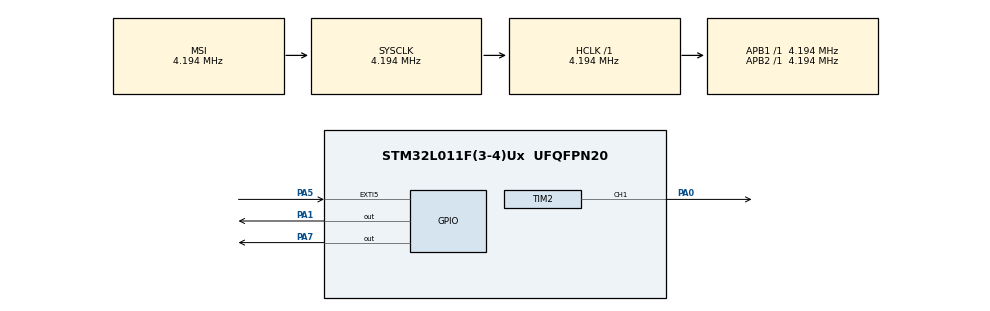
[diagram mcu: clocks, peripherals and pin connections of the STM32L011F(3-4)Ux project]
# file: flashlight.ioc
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LPTIM1.ClockPrescaler=LPTIM_PRESCALER_DIV128
LPTIM1.UpdateMode=LPTIM_UPDATE_ENDOFPERIOD
Mcu.Family=STM32L0
Mcu.Name=STM32L011F(3-4)Ux
Mcu.Package=UFQFPN20
NVIC.EXTI4_15_IRQn=true\:1\:0\:true\:false\:true\:true\:true\:true
NVIC.LPTIM1_IRQn=true\:0\:0\:false\:false\:true\:true\:true\:true
NVIC.PVD_IRQn=true\:0\:0\:false\:false\:true\:true\:true\:true
PA0-CK_IN.GPIO_PuPd=GPIO_PULLDOWN
PA0-CK_IN.Signal=S_TIM2_CH1
PA1.Signal=GPIO_Output
PA13.Mode=Serial_Wire
PA13.Signal=SYS_SWDIO
PA14.Mode=Serial_Wire
PA14.Signal=SYS_SWCLK
PA5.GPIO_PuPd=GPIO_PULLDOWN
PA5.Signal=GPXTI5
PA7.Signal=GPIO_Output
ProjectManager.HeapSize=0x200
ProjectManager.StackSize=0x400
ProjectManager.TargetToolchain=STM32CubeIDE
RCC.AHBFreq_Value=4194000
RCC.APB1Freq_Value=4194000
RCC.APB1TimFreq_Value=4194000
RCC.APB2Freq_Value=4194000
RCC.APB2TimFreq_Value=4194000
RCC.HCLKFreq_Value=4194000
RCC.HSE_VALUE=8000000
RCC.HSI16_VALUE=16000000
RCC.HSI_VALUE=16000000
RCC.LSE_VALUE=32768
RCC.LptimClockSelection=RCC_LPTIM1CLKSOURCE_LSI
RCC.MSIClockRange=RCC_MSIRANGE_6
RCC.MSI_VALUE=4194000
RCC.SYSCLKFreq_VALUE=4194000
RCC.VCOOutputFreq_Value=48000000
SH.S_TIM2_CH1.0=TIM2_CH1,PWM Generation1 CH1
TIM2.Channel-PWM\ Generation1\ CH1=TIM_CHANNEL_1
TIM2.Period=1024
TIM2.Prescaler=3
VP_LPTIM1_VS_LPTIM_counterModeInternalClock.Mode=Counts__internal_clock_event_00
VP_TIM2_VS_ClockSourceINT.Mode=Internal
board=custom

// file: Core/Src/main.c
/* USER CODE BEGIN Header */
/**
  ******************************************************************************
  * @file           : main.c
  * @brief          : Main program body
  ******************************************************************************
  * @attention
  *
  * Copyright (c) 2023 STMicroelectronics.
  * All rights reserved.
  *
  * This software is licensed under terms that can be found in the LICENSE file
  * in the root directory of this software component.
  * If no LICENSE file comes with this software, it is provided AS-IS.
  *
  ******************************************************************************
  */
/* USER CODE END Header */
#include "main.h"

/* USER CODE BEGIN PTD */
typedef enum
{
	idle,
	start,
	run,
	stop,
	chn_brtnss,
	low_battery
}state_machine_t;
/* USER CODE END PTD */

/* USER CODE BEGIN PD */
#define SPEED 10
#define PAUSE 10000
#define MAX_BRNESS 150
#define DOUBLE_CLICK_TIME_OUT 200
#define SLEEP_MS 5000U
/* USER CODE END PD */

LPTIM_HandleTypeDef hlptim1;

TIM_HandleTypeDef htim2;

/* USER CODE BEGIN PV */

uint16_t g_level = 0;
uint8_t g_bt_flag = 0;

uint16_t g_brightness = 200;

uint8_t g_direction = 0;
uint16_t g_speed = 0;
uint16_t g_long_press = 0;
uint16_t g_double_click_time_out = 0;

uint16_t sleep_time_out = SLEEP_MS;

extern uint8_t tic;

state_machine_t st = idle;

uint16_t CRT10_square(uint16_t val) {
    return ((long)val * val + 1023) >> 10;
}

uint16_t CRT10_cubic(uint16_t val) {
    return ((long)val * val * val + 2094081) >> 20;
}

void set_brightness(uint16_t val)
{
	if(val > 1023)
	{
		val = 1023;
	}
	  TIM2->CCR1 = CRT10_square(val);
}
void button_on(void)
{
	HAL_GPIO_WritePin(GPIOA, GPIO_PIN_7, GPIO_PIN_SET);
}

void button_off(void)
{
	HAL_GPIO_WritePin(GPIOA, GPIO_PIN_7, GPIO_PIN_RESET);
}

void time_out(void (*p_sleep_foo)(void))
{
	if(sleep_time_out > 1)
	{
		sleep_time_out--;
	}
	else
	{
		//HAL_TIM_PWM_Stop(&htim2, TIM_CHANNEL_1);
		p_sleep_foo();
	}
}
void start_lp_timer_10s(void)
{
	HAL_LPTIM_TimeOut_Start_IT(&hlptim1,2890,0);
}

void sleep_mode(void)
{
	HAL_PWR_EnterSLEEPMode(PWR_LOWPOWERREGULATOR_ON, PWR_SLEEPENTRY_WFI);
}

void stop_mode(void)
{
	HAL_PWR_EnterSTOPMode(PWR_LOWPOWERREGULATOR_ON, PWR_STOPENTRY_WFI);
}
void reset_led_satus(void)
{
	g_level = 0;
	g_direction = 0;
}

void check_button(void)
{
	if(g_bt_flag == 1 && HAL_GPIO_ReadPin(GPIOA, GPIO_PIN_5) == 0)
	{
		if(g_long_press > 2002)
		{
			g_bt_flag = 0;
			g_long_press = 0;
			g_level = g_brightness;
			set_brightness(g_level);
			st = run;
		}
		else
		{
			g_bt_flag = 0;
			if(g_double_click_time_out > 0)
			{
				g_brightness = 1023;
			}
			else
			{
				g_double_click_time_out = DOUBLE_CLICK_TIME_OUT;
			}

			if(st == idle)
			{
				st = start;
			}
			else
			{
				st = stop;
			}
		}

	}
	else if(g_bt_flag == 1 && HAL_GPIO_ReadPin(GPIOA, GPIO_PIN_5) == 1)
	{
		g_long_press++;

		if(g_long_press > 2000 && g_long_press < 2002 && st == run)
		{
			st = chn_brtnss;
			g_brightness = g_level;
		}

		if(g_long_press > 20000)
		{
			button_off();
			HAL_Delay(100);
			g_bt_flag = 0;
			st = idle;
			set_brightness(0);
			button_on();
		}

	}
	else
	{
		g_long_press = 0;

		if(g_double_click_time_out > 0)
		{
			g_double_click_time_out--;
		}
	}

}

static void indicate_low_batt_status(void)
{
	//HAL_LPTIM_TimeOut_Start_IT(&hlptim1,2890,0);
	if(g_speed++ > SPEED)
	{
		g_speed = 0;

		if(g_direction)
		{
			if(g_level-- > 1)
			{
				set_brightness(g_level);
			}
			else
			{
				g_direction = 0;
				start_lp_timer_10s();
				HAL_Delay(50);
				stop_mode();

			}
		}
		else
		{
			if(g_level++ < MAX_BRNESS)
			{
				 set_brightness(g_level);
			}
			else
			{
				g_direction = 1;
			}
		}
	}

}

void state_of_device(state_machine_t state)
{
	switch(state)
	{
		case idle:
		{
			//put your code here
			time_out(stop_mode);
			break;
		}
		case start:
		{
			//put your code here
			if(g_level++ < g_brightness - 1)
			{
				set_brightness(g_level);
			}
			else
			{
				st = run;
			}
			break;
		}
		case run:
		{
			//put your code here
			time_out(sleep_mode);
			break;
		}
		case stop:
		{
			//put your code here
			if(g_level-- > 1)
			{
				set_brightness(g_level);
			}
			else
			{
				st = idle;
			}
			break;
		}
		case low_battery:
		{
			//put your code here
			indicate_low_batt_status();
			break;
		}
		case chn_brtnss:
		{
			//put your code here
			if(g_direction)
			{
				if(g_brightness-- > 80)
				{
					set_brightness(g_brightness);
				}
				else
				{
					g_direction = 0;
				}
			}
			else
			{
				if(g_brightness++ < 1023)
				{
					set_brightness(g_brightness);
				}
				else
				{
					g_direction = 1;
				}
			}
			break;
		}
		default:
		{
			//put your code here

			break;
		}

	}
}

void start_pvd(void)
{
	PWR_PVDTypeDef sConfigPVD;

	HAL_NVIC_SetPriority(PVD_IRQn, 0, 0);
	HAL_NVIC_EnableIRQ(PVD_IRQn);

	sConfigPVD.PVDLevel = PWR_CR_PLS_LEV6;
	sConfigPVD.Mode = PWR_PVD_MODE_IT_RISING_FALLING;

	HAL_PWR_ConfigPVD(&sConfigPVD);
	HAL_PWR_EnablePVD();

}
/* USER CODE END PV */

void SystemClock_Config(void);
static void MX_GPIO_Init(void);
static void MX_TIM2_Init(void);
static void MX_LPTIM1_Init(void);

int main(void)
{

  /* MCU Configuration--------------------------------------------------------*/

  /* Reset of all peripherals, Initializes the Flash interface and the Systick. */
  HAL_Init();

  /* Configure the system clock */
  SystemClock_Config();

  /* Initialize all configured peripherals */
  MX_GPIO_Init();
  MX_TIM2_Init();
  MX_LPTIM1_Init();
  /* USER CODE BEGIN 2 */
  //start_pvd();
  HAL_TIM_PWM_Start(&htim2, TIM_CHANNEL_1);
  set_brightness(0);
  button_on();
  start_pvd();

  //HAL_LPTIM_TimeOut_Start_IT(&hlptim1,0xffff,0);
  /* USER CODE END 2 */

  /* Infinite loop */
  /* USER CODE BEGIN WHILE */
  while (1)
  {
	  if(tic > 0)
	  {
		  state_of_device(st);
		  check_button();

		  tic = 0;
	  }
    /* USER CODE END WHILE */

  }
}

void SystemClock_Config(void)
{
  RCC_OscInitTypeDef RCC_OscInitStruct = {0};
  RCC_ClkInitTypeDef RCC_ClkInitStruct = {0};
  RCC_PeriphCLKInitTypeDef PeriphClkInit = {0};

  /** Configure the main internal regulator output voltage
  */
  __HAL_PWR_VOLTAGESCALING_CONFIG(PWR_REGULATOR_VOLTAGE_SCALE1);

  /** Initializes the RCC Oscillators according to the specified parameters
  * in the RCC_OscInitTypeDef structure.
  */
  RCC_OscInitStruct.OscillatorType = RCC_OSCILLATORTYPE_LSI|RCC_OSCILLATORTYPE_MSI;
  RCC_OscInitStruct.LSIState = RCC_LSI_ON;
  RCC_OscInitStruct.MSIState = RCC_MSI_ON;
  RCC_OscInitStruct.MSICalibrationValue = 0;
  RCC_OscInitStruct.MSIClockRange = RCC_MSIRANGE_6;
  RCC_OscInitStruct.PLL.PLLState = RCC_PLL_NONE;
  if (HAL_RCC_OscConfig(&RCC_OscInitStruct) != HAL_OK)
  {
    Error_Handler();
  }

  /** Initializes the CPU, AHB and APB buses clocks
  */
  RCC_ClkInitStruct.ClockType = RCC_CLOCKTYPE_HCLK|RCC_CLOCKTYPE_SYSCLK
                              |RCC_CLOCKTYPE_PCLK1|RCC_CLOCKTYPE_PCLK2;
  RCC_ClkInitStruct.SYSCLKSource = RCC_SYSCLKSOURCE_MSI;
  RCC_ClkInitStruct.AHBCLKDivider = RCC_SYSCLK_DIV1;
  RCC_ClkInitStruct.APB1CLKDivider = RCC_HCLK_DIV1;
  RCC_ClkInitStruct.APB2CLKDivider = RCC_HCLK_DIV1;

  if (HAL_RCC_ClockConfig(&RCC_ClkInitStruct, FLASH_LATENCY_0) != HAL_OK)
  {
    Error_Handler();
  }
  PeriphClkInit.PeriphClockSelection = RCC_PERIPHCLK_LPTIM1;
  PeriphClkInit.LptimClockSelection = RCC_LPTIM1CLKSOURCE_LSI;

  if (HAL_RCCEx_PeriphCLKConfig(&PeriphClkInit) != HAL_OK)
  {
    Error_Handler();
  }
}

static void MX_LPTIM1_Init(void)
{

  hlptim1.Instance = LPTIM1;
  hlptim1.Init.Clock.Source = LPTIM_CLOCKSOURCE_APBCLOCK_LPOSC;
  hlptim1.Init.Clock.Prescaler = LPTIM_PRESCALER_DIV128;
  hlptim1.Init.Trigger.Source = LPTIM_TRIGSOURCE_SOFTWARE;
  hlptim1.Init.OutputPolarity = LPTIM_OUTPUTPOLARITY_HIGH;
  hlptim1.Init.UpdateMode = LPTIM_UPDATE_ENDOFPERIOD;
  hlptim1.Init.CounterSource = LPTIM_COUNTERSOURCE_INTERNAL;
  if (HAL_LPTIM_Init(&hlptim1) != HAL_OK)
  {
    Error_Handler();
  }

}

static void MX_TIM2_Init(void)
{

  TIM_ClockConfigTypeDef sClockSourceConfig = {0};
  TIM_MasterConfigTypeDef sMasterConfig = {0};
  TIM_OC_InitTypeDef sConfigOC = {0};

  htim2.Instance = TIM2;
  htim2.Init.Prescaler = 3;
  htim2.Init.CounterMode = TIM_COUNTERMODE_UP;
  htim2.Init.Period = 1024;
  htim2.Init.ClockDivision = TIM_CLOCKDIVISION_DIV1;
  htim2.Init.AutoReloadPreload = TIM_AUTORELOAD_PRELOAD_DISABLE;
  if (HAL_TIM_Base_Init(&htim2) != HAL_OK)
  {
    Error_Handler();
  }
  sClockSourceConfig.ClockSource = TIM_CLOCKSOURCE_INTERNAL;
  if (HAL_TIM_ConfigClockSource(&htim2, &sClockSourceConfig) != HAL_OK)
  {
    Error_Handler();
  }
  if (HAL_TIM_PWM_Init(&htim2) != HAL_OK)
  {
    Error_Handler();
  }
  sMasterConfig.MasterOutputTrigger = TIM_TRGO_RESET;
  sMasterConfig.MasterSlaveMode = TIM_MASTERSLAVEMODE_DISABLE;
  if (HAL_TIMEx_MasterConfigSynchronization(&htim2, &sMasterConfig) != HAL_OK)
  {
    Error_Handler();
  }
  sConfigOC.OCMode = TIM_OCMODE_PWM1;
  sConfigOC.Pulse = 0;
  sConfigOC.OCPolarity = TIM_OCPOLARITY_HIGH;
  sConfigOC.OCFastMode = TIM_OCFAST_DISABLE;
  if (HAL_TIM_PWM_ConfigChannel(&htim2, &sConfigOC, TIM_CHANNEL_1) != HAL_OK)
  {
    Error_Handler();
  }
  HAL_TIM_MspPostInit(&htim2);

}

static void MX_GPIO_Init(void)
{
  GPIO_InitTypeDef GPIO_InitStruct = {0};

  /* GPIO Ports Clock Enable */
  __HAL_RCC_GPIOA_CLK_ENABLE();

  /*Configure GPIO pin Output Level */
  HAL_GPIO_WritePin(GPIOA, GPIO_PIN_1|GPIO_PIN_7, GPIO_PIN_RESET);

  /*Configure GPIO pins : PA1 PA7 */
  GPIO_InitStruct.Pin = GPIO_PIN_1|GPIO_PIN_7;
  GPIO_InitStruct.Mode = GPIO_MODE_OUTPUT_PP;
  GPIO_InitStruct.Pull = GPIO_NOPULL;
  GPIO_InitStruct.Speed = GPIO_SPEED_FREQ_LOW;
  HAL_GPIO_Init(GPIOA, &GPIO_InitStruct);

  /*Configure GPIO pin : PA5 */
  GPIO_InitStruct.Pin = GPIO_PIN_5;
  GPIO_InitStruct.Mode = GPIO_MODE_IT_RISING;
  GPIO_InitStruct.Pull = GPIO_PULLDOWN;
  HAL_GPIO_Init(GPIOA, &GPIO_InitStruct);

  /* EXTI interrupt init*/
  HAL_NVIC_SetPriority(EXTI4_15_IRQn, 1, 0);
  HAL_NVIC_EnableIRQ(EXTI4_15_IRQn);

}

/* USER CODE BEGIN 4 */
void HAL_GPIO_EXTI_Callback(uint16_t GPIO_Pin)
{
   if(GPIO_Pin == GPIO_PIN_5)
   {
	   g_bt_flag = 1;
	   sleep_time_out = SLEEP_MS;
	  // HAL_TIM_PWM_Start(&htim2, TIM_CHANNEL_1);
   }
}

void HAL_PWR_PVDCallback(void)
{

	if(PWR->CSR & PWR_CSR_PVDO)
	{
		//dead battery
		st = low_battery;
		button_off();
		reset_led_satus();
		set_brightness(0);
	}
	else
	{
		HAL_LPTIM_TimeOut_Stop_IT(&hlptim1);
		st = idle;
		set_brightness(0);
		button_on();
	}
}
/* USER CODE END 4 */

void Error_Handler(void)
{
  __disable_irq();
  while (1)
  {
  }
}
